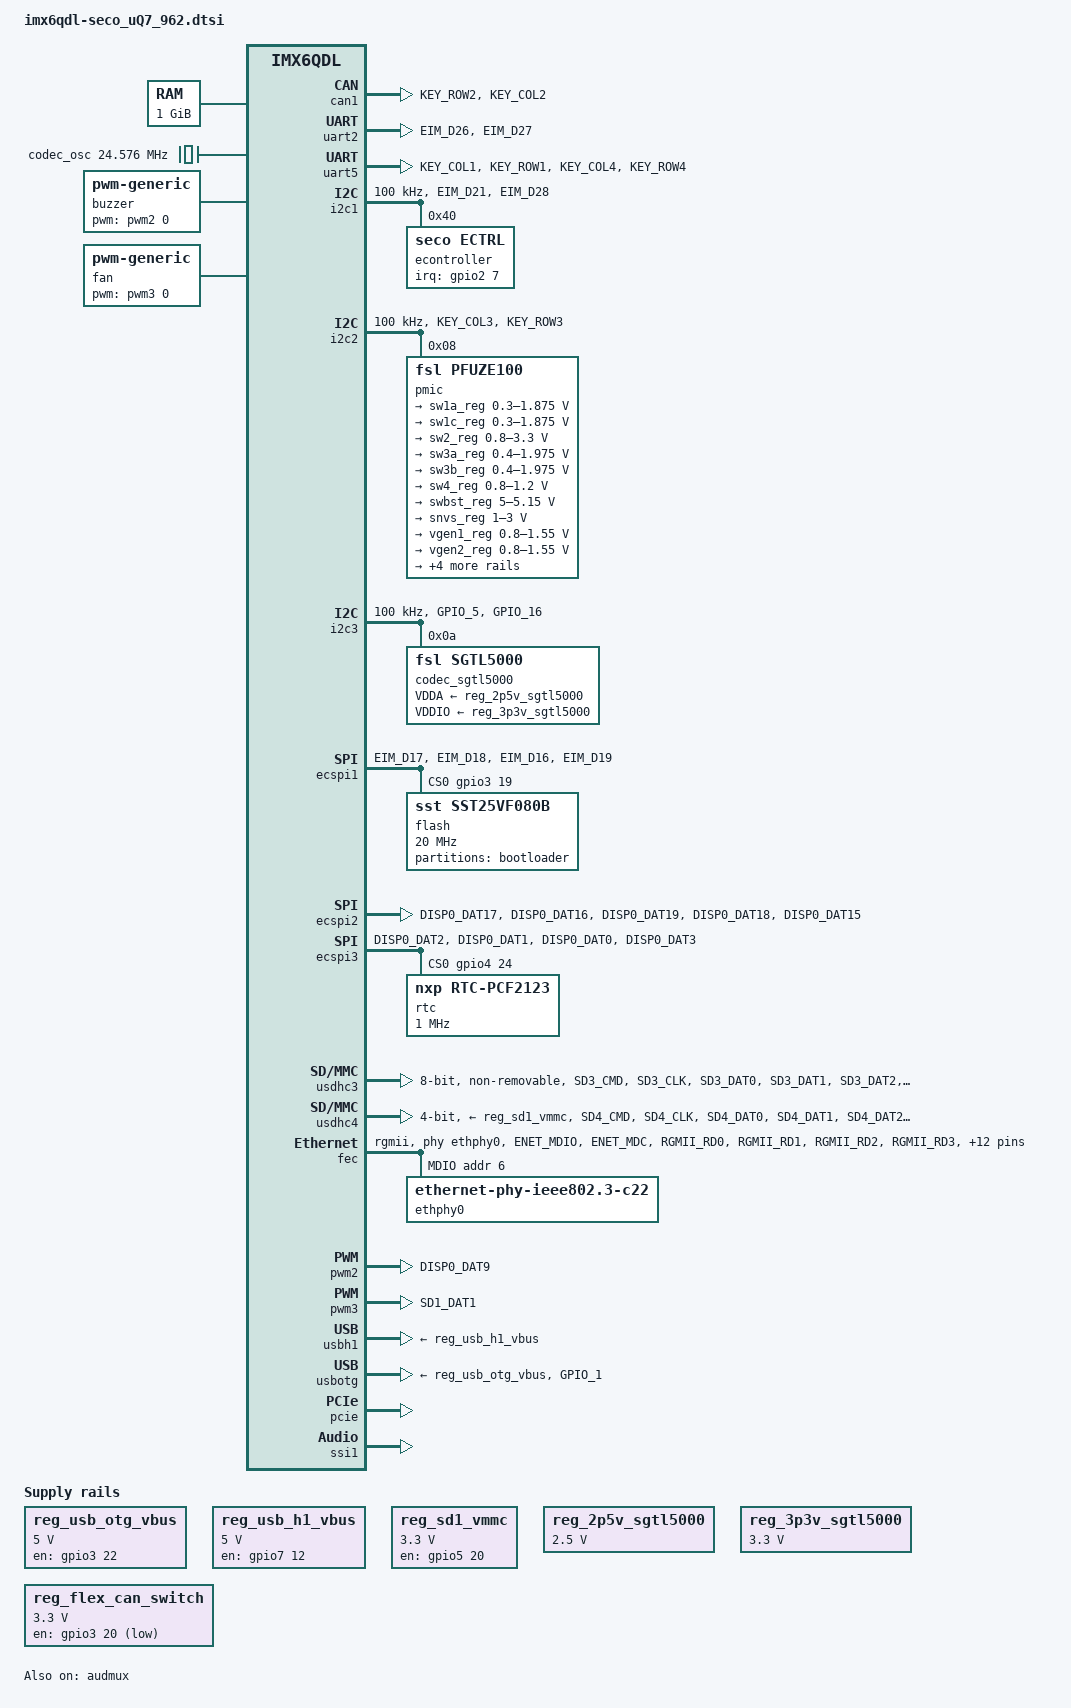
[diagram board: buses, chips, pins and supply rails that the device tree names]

#include <dt-bindings/gpio/gpio.h>
#include <dt-bindings/input/input.h>
#include <dt-bindings/pwm/pwm.h>
#include <dt-bindings/seco/ectrl.h>


/ {
	aliases {
		mxcfb0 = &mxcfb1;
		mxcfb1 = &mxcfb2;
		mxcfb2 = &mxcfb3;
		mxcfb3 = &mxcfb4;
		mmc0   = &usdhc3;
		mmc1   = &usdhc4;
	};

	memory: memory {
		reg = <0x10000000 0x40000000>;
	};

/*  __________________________________________________________________________
 * |                                                                          |
 * |                                    POWER                                 |
 * |__________________________________________________________________________|
 */
	power_signal: power_signal {
		power-gpio = <&gpio2 4 0>;
	};


/*  __________________________________________________________________________
 * |                                                                          |
 * |                                 REGULATORS                               |
 * |__________________________________________________________________________|
 */
	regulators {
		compatible       = "simple-bus";
		#address-cells   = <1>;
		#size-cells      = <0>;

		reg_usb_otg_vbus: regulator@0 {
			compatible              = "regulator-fixed";
			reg                     = <0>;
			regulator-name          = "usb_otg_vbus";
			regulator-min-microvolt = <5000000>;
			regulator-max-microvolt = <5000000>;
			gpio                    = <&gpio3 22 0>;
			enable-active-high;
		};

		reg_usb_h1_vbus: regulator@1 {
			compatible              = "regulator-fixed";
			reg                     = <1>;
			regulator-name          = "usb_h1_vbus";
			pinctrl-0               = <&pinctrl_usb_reg>;
			regulator-min-microvolt = <5000000>;
			regulator-max-microvolt = <5000000>;
			gpio                    = <&gpio7 12 0>;
			enable-active-high;
			startup-delay-us        = <10>; /* USB2514 requires a POR of 1 us minimum */
		};

		reg_panel_on: regulator@2 {
			compatible              = "regulator-fixed";
			reg                     = <2>;
			regulator-name          = "reg_panel_on";
			regulator-min-microvolt = <3300000>;
			regulator-max-microvolt = <3300000>;
			gpio                    = <&gpio1 2 0>;
			enable-active-high;
			regulator-boot-on;
			regulator-always-on;
			status                  = "disabled";
		};

		reg_sd1_vmmc: regulator@3 {
			compatible              = "regulator-fixed";
			reg                     = <3>;
			regulator-name          = "sdcard_on";
			regulator-min-microvolt = <3300000>;
			regulator-max-microvolt = <3300000>;
			gpio                    = <&gpio5 20 0>;
			enable-active-high;
			status                  = "okay";
		};

		reg_2p5v_sgtl5000: regulator@4 {
			compatible              = "regulator-fixed";
			reg                     = <4>;
			regulator-name          = "2P5V_sgtl5000";
			regulator-min-microvolt = <2500000>;
			regulator-max-microvolt = <2500000>;
			regulator-always-on;
			status                  = "okay";
		};

		reg_3p3v_sgtl5000: regulator@5 {
			compatible              = "regulator-fixed";
			reg                     = <5>;
			regulator-name          = "3P3V_sgtl5000";
			regulator-min-microvolt = <3300000>;
			regulator-max-microvolt = <3300000>;
			regulator-always-on;
			status                  = "okay";
		};


		/* select for mux between uart4 and flexcan (default is flexcan) */
		reg_uart_switch: regulator@6 {
			compatible              = "regulator-fixed";
			reg                     = <6>;
			regulator-name          = "uart4_enable";
			regulator-min-microvolt = <3300000>;
			regulator-max-microvolt = <3300000>;
			gpio                    = <&gpio3 20 0>;
			regulator-always-on;
			enable-active-high;
			status                  = "disabled";
		};

		reg_flex_can_switch: regulator@7 {
			compatible              = "regulator-fixed";
			reg                     = <7>;
			regulator-name          = "flexcan_enable";
			regulator-min-microvolt = <3300000>;
			regulator-max-microvolt = <3300000>;
			gpio                    = <&gpio3 20 0>;
			regulator-always-on;
			status                  = "okay";
		};

	};


/*  __________________________________________________________________________
 * |                                                                          |
 * |                                   VIDEO                                  |
 * |__________________________________________________________________________|
 */

	mxcfb1: fb@0 {
		compatible = "fsl,mxc_sdc_fb";
		disp_dev = "ldb";
		interface_pix_fmt = "RGB666";
		default_bpp = <16>;
		int_clk = <0>;
		late_init = <0>;
		status = "disabled";
	};

	mxcfb2: fb@1 {
		compatible = "fsl,mxc_sdc_fb";
		disp_dev = "hdmi";
		interface_pix_fmt = "RGB24";
		mode_str ="1920x1080M@60";
		default_bpp = <24>;
		int_clk = <0>;
		late_init = <0>;
		status = "disabled";
	};

	mxcfb3: fb@2 {
		compatible = "fsl,mxc_sdc_fb";
		disp_dev = "lcd";
		interface_pix_fmt = "RGB565";
		mode_str ="CLAA-WVGA";
		default_bpp = <16>;
		int_clk = <0>;
		late_init = <0>;
		status = "disabled";
	};

	mxcfb4: fb@3 {
		compatible = "fsl,mxc_sdc_fb";
		disp_dev = "ldb";
		interface_pix_fmt = "RGB666";
		default_bpp = <16>;
		int_clk = <0>;
		late_init = <0>;
		status = "disabled";
	};


	backlight: backlight {
		compatible               = "pwm-backlight";
		pwms                     = <&pwm1 0 5000000>;
		brightness-levels        = <0  4   8   12  16  20  24  28  32  36
		                            40  44  48  52  56  60  64  68  72  76
		                            80  84  88  92  96  100 104 108 112 116
		                            120 124 128 132 136 140 144 148 152 156
		                            160 164 168 172 176 180 184 188 192 196
		                            200 204 208 212 216 220 224 228 232 236
		                            240 244 248 252 255
		                           >;
		default-brightness-level = <64>;
		enable-gpios             = <&gpio1 4 0>;
		status                   = "disabled";
	};

};



/*  __________________________________________________________________________
 * |                                                                          |
 * |                                 CLOCKS                                   |
 * |__________________________________________________________________________|
 */
/ {
	clocks {
		codec_osc: anaclk2 {
			compatible      = "fixed-clock";
			#clock-cells    = <0>;
			clock-frequency = <24576000>;
		};
	};
};

&clks {
	assigned-clocks      =
		<&clks IMX6QDL_PLL4_BYPASS_SRC>,
 		<&clks IMX6QDL_PLL4_BYPASS>,
		<&clks IMX6QDL_CLK_PLL4_POST_DIV>;

	assigned-clock-parents =
		<&clks IMX6QDL_CLK_LVDS2_IN>,
		<&clks IMX6QDL_PLL4_BYPASS_SRC>;

	assigned-clock-rates = <0>, <0>, <24576000>;
};



/*  __________________________________________________________________________
 * |                                                                          |
 * |                                    CAN                                   |
 * |__________________________________________________________________________|
 */
/*  Shared with UART4  */
&can1 {
	pinctrl-names = "default";
	pinctrl-0     = <&pinctrl_flexcan1>;
	status        = "okay";
};
/*  __________________________________________________________________________
 * |__________________________________________________________________________|
 */


/*  __________________________________________________________________________
 * |                                                                          |
 * |                                    UART                                  |
 * |__________________________________________________________________________|
 */
/*  Serial Debug  */
&uart2 {
	pinctrl-names = "default";
	pinctrl-0     = <&pinctrl_uart2>;
	status        = "okay";
};

/*  General Pourpose - shared with CAN1  */
&uart4 {
	pinctrl-names = "default";
	pinctrl-0     = <&pinctrl_uart4>;
	status        = "disabled";
};

/*  General Pourpose  */
&uart5 {
	pinctrl-names = "default";
	pinctrl-0     = <&pinctrl_uart5>;
	dma-names     = "","tx";
	status        = "okay";
};
/*  __________________________________________________________________________
 * |__________________________________________________________________________|
 */


/*  __________________________________________________________________________
 * |                                                                          |
 * |                            I2C INTERFACE/DEVICE                          |
 * |__________________________________________________________________________|
 */
&i2c1 {
	clock-frequency = <100000>;
	pinctrl-names   = "default";
	pinctrl-0       = <&pinctrl_i2c1>;
	status          = "okay";

	econtroller: ectrl@40 {
		compatible       = "seco,ectrl";
		reg              = <0x40>;

		interrupt-parent = <&gpio2>;
		interrupts       = <7 2>;

		events           = <ECTRL_EVNT_PWR_BTN  ECTRL_EVNT_RST_BTN
							ECTRL_EVNT_SLEEP  ECTRL_EVNT_BATTERY
							ECTRL_EVNT_WAKE
						>;

		boot_device {

			bootdev@0 {
				id    = <ECTRL_BOOTDEV_USDHC1>;
				label = "external SD";
			};

			bootdev@1 {
				id    = <ECTRL_BOOTDEV_EMMC>;
				label = "on board eMMC";
			};

			bootdev@2 {
				id    = <ECTRL_BOOTDEV_SPI>;
				label = "on board SPI flash";
			};

		};

	};
};


&i2c2 {
	clock-frequency = <100000>;
	pinctrl-names   = "default";
	pinctrl-0       = <&pinctrl_i2c2>;
	status          = "okay";

	hdmi_edid: edid@50 {
		compatible = "fsl,imx6-hdmi-i2c";
		reg        = <0x50>;
		status     = "disabled";
	};

	pmic: pfuze100@8 {
		compatible = "fsl,pfuze100";
		reg = <0x8>;

		regulators {
			sw1a_reg: sw1ab {
				regulator-min-microvolt = <300000>;
				regulator-max-microvolt = <1875000>;
				regulator-boot-on;
				regulator-always-on;
				regulator-ramp-delay = <6250>;
			};

			sw1c_reg: sw1c {
				regulator-min-microvolt = <300000>;
				regulator-max-microvolt = <1875000>;
				regulator-boot-on;
				regulator-always-on;
				regulator-ramp-delay = <6250>;
			};

			sw2_reg: sw2 {
				regulator-min-microvolt = <800000>;
				regulator-max-microvolt = <3300000>;
				regulator-boot-on;
				regulator-always-on;
				regulator-ramp-delay = <6250>;
			};

			sw3a_reg: sw3a {
				regulator-min-microvolt = <400000>;
				regulator-max-microvolt = <1975000>;
				regulator-boot-on;
				regulator-always-on;
			};

			sw3b_reg: sw3b {
				regulator-min-microvolt = <400000>;
				regulator-max-microvolt = <1975000>;
				regulator-boot-on;
				regulator-always-on;
			};

			sw4_reg: sw4 {
				regulator-min-microvolt = <800000>;
				regulator-max-microvolt = <1200000>;
				regulator-always-on;
			};

			swbst_reg: swbst {
				regulator-min-microvolt = <5000000>;
				regulator-max-microvolt = <5150000>;
			};

			snvs_reg: vsnvs {
				regulator-min-microvolt = <1000000>;
				regulator-max-microvolt = <3000000>;
				regulator-boot-on;
				regulator-always-on;
			};

			vref_reg: vrefddr {
				regulator-boot-on;
				regulator-always-on;
			};

			vgen1_reg: vgen1 {
				regulator-min-microvolt = <800000>;
				regulator-max-microvolt = <1550000>;
			};

			vgen2_reg: vgen2 {
				regulator-min-microvolt = <800000>;
				regulator-max-microvolt = <1550000>;
			};

			vgen3_reg: vgen3 {
				regulator-min-microvolt = <1800000>;
				regulator-max-microvolt = <3300000>;
			};

			vgen4_reg: vgen4 {
				regulator-min-microvolt = <1800000>;
				regulator-max-microvolt = <3300000>;
				regulator-always-on;
			};

			vgen5_reg: vgen5 {
				regulator-min-microvolt = <1800000>;
				regulator-max-microvolt = <3300000>;
				regulator-always-on;
			};

			vgen6_reg: vgen6 {
				regulator-min-microvolt = <1800000>;
				regulator-max-microvolt = <3300000>;
				regulator-always-on;
			};
		};
	};

};


&i2c3 {
	clock-frequency = <100000>;
	pinctrl-names   = "default";
	pinctrl-0       = <&pinctrl_i2c3>;
	status          = "okay";

	codec_sgtl5000: sgtl5000@0a {
		compatible   = "fsl,sgtl5000";
		reg          = <0x0a>;
		clocks       = <&clks IMX6QDL_CLK_CKO>;
		VDDA-supply  = <&reg_2p5v_sgtl5000>;
		VDDIO-supply = <&reg_3p3v_sgtl5000>;
		status       = "okay";
	};
};
/*  __________________________________________________________________________
 * |__________________________________________________________________________|
 */


/*  __________________________________________________________________________
 * |                                                                          |
 * |                            SPI INTERFACE/DEVICE                          |
 * |__________________________________________________________________________|
 */
&ecspi1 {
	fsl,spi-num-chipselects = <1>;
	cs-gpios                = <&gpio3 19 0>;
	pinctrl-names           = "default";
	pinctrl-0               = <&pinctrl_ecspi1>;
	status                  = "okay";


	flash: m25p80@0 {
		#address-cells    = <1>;
		#size-cells       = <0>;

		compatible        = "sst,sst25vf080b", "jedec,spi-nor";
		reg               = <0>;
		spi-max-frequency = <20000000>;

		partitions {
			compatible = "fixed-partitions";
			#address-cells = <1>;
			#size-cells = <1>;

			partition@0 {
				label = "bootloader";
				reg   = <0x00000000 0x00100000>;
			};
		};
	};

};


&ecspi2 {
	fsl,spi-num-chipselects = <2>;
	cs-gpios                = <&gpio5 12  0>, <&gpio5 9 0>;
	pinctrl-names           = "default";
	pinctrl-0               = <&pinctrl_ecspi2>;
	status                  = "okay";

//	spidev@0x00{
//		compatible = "spidev";
//		spi-max-frequency   = <1000000>;
//		reg                 = <0>;
//	}; 
};


&ecspi3 {
	fsl,spi-num-chipselects = <1>;
	cs-gpios                = <&gpio4 24  0>;
	pinctrl-names           = "default";
	pinctrl-0               = <&pinctrl_ecspi3>;
	status                  = "okay";

    rtc: pcf2123@0 {
		compatible        = "nxp,rtc-pcf2123";
		reg               = <0>;
		spi-max-frequency = <1000000>;
		spi-cs-high;
    };
};
/*  __________________________________________________________________________
 * |__________________________________________________________________________|
 */


/*  __________________________________________________________________________
 * |                                                                          |
 * |                                   USDHC                                  |
 * |__________________________________________________________________________|
 */
/*  eMMC  */
&usdhc3 {
	pinctrl-names          = "default";
	pinctrl-0              = <&pinctrl_usdhc3>;
	bus-width              = <8>;
	no-1-8-v;
	non-removable;
	keep-power-in-suspend;
	status                 = "okay";
};


/*  uSD  */
&usdhc4 {
	pinctrl-names          = "default";
	pinctrl-0              = <&pinctrl_usdhc4>;
	cd-gpios               = <&gpio2 6 GPIO_ACTIVE_LOW>;
	bus-width              = <4>;
	vmmc-supply            = <&reg_sd1_vmmc>;
	keep-power-in-suspend;
	enable-sdio-wakeup;
	no-1-8-v;
	status                 = "okay";
};
/*  __________________________________________________________________________
 * |__________________________________________________________________________|
 */


/*  __________________________________________________________________________
 * |                                                                          |
 * |                                  ETHERNET                                |
 * |__________________________________________________________________________|
 */
&fec {
	pinctrl-names        = "default";
	pinctrl-0            = <&pinctrl_enet>;
	phy-mode             = "rgmii";
	phy-reset-gpios      = <&gpio3 23 0>;
	phy-reset-duration   = <10>;
	phy-reset-post-delay = <100>;
	phy-handle           = <&ethphy0>;
	fsl,magic-packet;
	status             = "okay";

	mdio: mdio {
		#address-cells = <1>;
		#size-cells = <0>;

		ethphy0: ethernet-phy@6 {
			compatible = "ethernet-phy-ieee802.3-c22";
			reg = <6>;
			// interrupt-parent = <&gpio4>;
			// interrupts = <16 IRQ_TYPE_LEVEL_LOW>;
			status = "okay";
		};
	};
};
/*  __________________________________________________________________________
 * |__________________________________________________________________________|
 */



/*  __________________________________________________________________________
 * |                                                                          |
 * |                                     PWM                                  |
 * |__________________________________________________________________________|
 */
&pwm1 {
	pinctrl-names = "default";
	pinctrl-0     = <&pinctrl_pwm1>;
	status        = "disabled";
};


&pwm2 {
	pinctrl-names = "default";
	pinctrl-0     = <&pinctrl_pwm2>;
	status        = "okay";
};


&pwm3 {
	pinctrl-names = "default";
	pinctrl-0     = <&pinctrl_pwm3>;
	status        = "okay";
};
/*  __________________________________________________________________________
 * |__________________________________________________________________________|
 */



/*  __________________________________________________________________________
 * |                                                                          |
 * |                                     USB                                  |
 * |__________________________________________________________________________|
 */
&usbh1 {
	vbus-supply = <&reg_usb_h1_vbus>;
	status      = "okay";
};


&usbotg {
	vbus-supply           = <&reg_usb_otg_vbus>;
	pinctrl-names         = "default";
	pinctrl-0             = <&pinctrl_usbotg>;
	disable-over-current;
	status                = "okay";
};
/*  __________________________________________________________________________
 * |__________________________________________________________________________|
 */


/*  __________________________________________________________________________
 * |                                                                          |
 * |                                 VIDEO OUTPUT                             |
 * |__________________________________________________________________________|
 */
&hdmi_audio {
	status = "disabled";
};


&hdmi_core {
	ipu_id  = <0>;
	disp_id = <0>;
	status  = "disabled";
};


&hdmi_video {
	fsl,phy_reg_vlev    = <0x0294>;
	fsl,phy_reg_cksymtx = <0x800d>;
	status              = "disabled";
};
/*  __________________________________________________________________________
 * |__________________________________________________________________________|
 */


/*  __________________________________________________________________________
 * |                                                                          |
 * |                                    PCI                                   |
 * |__________________________________________________________________________|
 */
&pcie {
	status = "okay";
};
/*  __________________________________________________________________________
 * |__________________________________________________________________________|
 */


/*  __________________________________________________________________________
 * |                                                                          |
 * |                                   AUDIO                                  |
 * |__________________________________________________________________________|
 */
/*  __________________________________________________________________________
 * |___________________________ AUDIO SGTL5000 _______________________________|
 */

 / {
    sound_sgtl5000: sound_sgtl5000 {
        compatible     = "fsl,imx6q-seco-sgtl5000",
                         "fsl,imx-audio-sgtl5000";
        model          = "fsl,imx6q-seco-sgtl5000";
        cpu-dai        = <&ssi1>;
        ssi-controller = <&ssi1>;
        audio-codec    = <&codec_sgtl5000>;
        audio-routing  = "MIC_IN", "Mic Jack",
                         "Mic Jack", "Mic Bias",
                         "Headphone Jack", "HP_OUT";
        mux-int-port   = <1>;
        mux-ext-port   = <6>;
        status         = "okay";
    };
};


&ssi1 {
    fsl,mode       = "i2s-slave";
    status         = "okay";
    	cell-index    = <0>;
};


&audmux {
	status        = "okay";
	pinctrl-names = "default";
	pinctrl-0     = <&pinctrl_audmux>;
};


/ {
	buzzer {
		compatible      = "pwm-generic";
		pwms            = <&pwm2 0 500000000>;
		max-duty        = <255>;
		dft-duty        = <128>;
		pwm-period-ns   = <370000>;
		period-ns-min   = <150>;
		period-ns-max   = <50000000>;
		pwm-id          = <2>;
		enable          = <0>;
	};
};
/*  __________________________________________________________________________
 * |__________________________________________________________________________|
 */

/ {
	fan {
		compatible      = "pwm-generic";
		pwms            = <&pwm3 0 500000000>;
		max-duty        = <255>;
		dft-duty        = <128>;
		pwm-period-ns   = <370000>;
		period-ns-min   = <150>;
		period-ns-max   = <50000000>;
		pwm-id          = <3>;
		enable          = <0>;
	};
};

/*  __________________________________________________________________________
 * |                                                                          |
 * |                                    IOMUX                                 |
 * |__________________________________________________________________________|
 */
&iomuxc {
	pinctrl-names = "default";
	pinctrl-0 = <&pinctrl_hog>;

	imx6qdl-uQ7_962 {

		pinctrl_hog: hoggrp {
			fsl,pins = <
				/*  LVDS  */
				MX6QDL_PAD_GPIO_4__GPIO1_IO04                0x1f071
				MX6QDL_PAD_GPIO_2__GPIO1_IO02                0x1f071
				/*  USB  */
				MX6QDL_PAD_EIM_D22__GPIO3_IO22               0x1f071
				MX6QDL_PAD_GPIO_17__GPIO7_IO12               0x1f071
				/*  ECTRL INTERRUPT  */
				MX6QDL_PAD_NANDF_D7__GPIO2_IO07              0x1f071
				/*  PWR EMBEDDED CONTROLLER  */
				MX6QDL_PAD_NANDF_D4__GPIO2_IO04              0x1f071
				/*   UART4 - FLEXCAN MUX SELECTOR  */
				MX6QDL_PAD_EIM_D20__GPIO3_IO20               0x1f071
			>;
		};


/*  __________________________________________________________________________
 * |________________________________ UART ____________________________________|
 */
		/* DEBUG UART */
		pinctrl_uart2: uart2grp {
			fsl,pins = <
				MX6QDL_PAD_EIM_D26__UART2_TX_DATA            0x1b0b1
				MX6QDL_PAD_EIM_D27__UART2_RX_DATA            0x1b0b1
			>;
		};

		pinctrl_uart4: uart4grp {
			fsl,pins = <
				MX6QDL_PAD_KEY_COL0__UART4_TX_DATA           0x1b0b1
				MX6QDL_PAD_KEY_ROW0__UART4_RX_DATA           0x1b0b1
			>;
		};

		pinctrl_uart5: uart5grp {
			fsl,pins = <
				MX6QDL_PAD_KEY_COL1__UART5_TX_DATA           0x1b0b1
				MX6QDL_PAD_KEY_ROW1__UART5_RX_DATA           0x1b0b1
				MX6QDL_PAD_KEY_COL4__UART5_RTS_B             0x1b0b1
				MX6QDL_PAD_KEY_ROW4__UART5_CTS_B             0x1b0b1

			>;
		};


/*  __________________________________________________________________________
 * |_________________________________ I2C ____________________________________|
 */
		pinctrl_i2c1: i2c1grp {
			fsl,pins = <
				MX6QDL_PAD_EIM_D21__I2C1_SCL                 0x4001b8b1
				MX6QDL_PAD_EIM_D28__I2C1_SDA                 0x4001b8b1
			>;
		};

		pinctrl_i2c2: i2c2grp {
			fsl,pins = <
				MX6QDL_PAD_KEY_COL3__I2C2_SCL                0x4001b8b1
				MX6QDL_PAD_KEY_ROW3__I2C2_SDA                0x4001b8b1
			 >;
		};

		pinctrl_i2c3: i2c3grp {
			fsl,pins = <
				MX6QDL_PAD_GPIO_5__I2C3_SCL                  0x4001b8b1
				MX6QDL_PAD_GPIO_16__I2C3_SDA                 0x4001b8b1
			>;
		};

/*  __________________________________________________________________________
 * |_________________________________ SPI ____________________________________|
 */
		pinctrl_ecspi1: ecspi1grp {
			fsl,pins = <
				MX6QDL_PAD_EIM_D17__ECSPI1_MISO              0x100b1
				MX6QDL_PAD_EIM_D18__ECSPI1_MOSI              0x100b1
				MX6QDL_PAD_EIM_D16__ECSPI1_SCLK              0x100b1
				/*  CS SPI 1  */
				MX6QDL_PAD_EIM_D19__GPIO3_IO19               0x80000000

			>;
		};

		pinctrl_ecspi2: ecspi2grp {
			fsl,pins = <
				MX6QDL_PAD_DISP0_DAT17__ECSPI2_MISO          0x100b1
				MX6QDL_PAD_DISP0_DAT16__ECSPI2_MOSI          0x100b1
				MX6QDL_PAD_DISP0_DAT19__ECSPI2_SCLK          0x100b1
				/*  CS SPI 2  */
				MX6QDL_PAD_DISP0_DAT18__GPIO5_IO12           0x80000000
				MX6QDL_PAD_DISP0_DAT15__GPIO5_IO09           0x80000000
			>;
		};

		pinctrl_ecspi3: ecspi3grp {
			fsl,pins = <
				MX6QDL_PAD_DISP0_DAT2__ECSPI3_MISO           0x100b1
				MX6QDL_PAD_DISP0_DAT1__ECSPI3_MOSI           0x100b1
				MX6QDL_PAD_DISP0_DAT0__ECSPI3_SCLK           0x100b1
				/*  CS SPI 3  */
				MX6QDL_PAD_DISP0_DAT3__GPIO4_IO24            0x80000000
			>;
		};


/*  __________________________________________________________________________
 * |________________________________ USDHC ___________________________________|
 */
		pinctrl_usdhc3: usdhc3grp {
			fsl,pins = <
				MX6QDL_PAD_SD3_CMD__SD3_CMD                  0x17059
				MX6QDL_PAD_SD3_CLK__SD3_CLK                  0x10059
				MX6QDL_PAD_SD3_DAT0__SD3_DATA0               0x17059
				MX6QDL_PAD_SD3_DAT1__SD3_DATA1               0x17059
				MX6QDL_PAD_SD3_DAT2__SD3_DATA2               0x17059
				MX6QDL_PAD_SD3_DAT3__SD3_DATA3               0x17059
				MX6QDL_PAD_SD3_DAT4__SD3_DATA4               0x17059
				MX6QDL_PAD_SD3_DAT5__SD3_DATA5               0x17059
				MX6QDL_PAD_SD3_DAT6__SD3_DATA6               0x17059
				MX6QDL_PAD_SD3_DAT7__SD3_DATA7               0x17059
				MX6QDL_PAD_SD3_RST__SD3_RESET                0x17059
			>;
		};

		pinctrl_usdhc4: usdhc4grp {
			fsl,pins = <
				MX6QDL_PAD_SD4_CMD__SD4_CMD                  0x17059
				MX6QDL_PAD_SD4_CLK__SD4_CLK                  0x10059
				MX6QDL_PAD_SD4_DAT0__SD4_DATA0               0x17059
				MX6QDL_PAD_SD4_DAT1__SD4_DATA1               0x17059
				MX6QDL_PAD_SD4_DAT2__SD4_DATA2               0x17059
				MX6QDL_PAD_SD4_DAT3__SD4_DATA3               0x17059
				MX6QDL_PAD_NANDF_D6__GPIO2_IO06              0x17059
				MX6QDL_PAD_CSI0_DATA_EN__GPIO5_IO20          0x17059
				MX6QDL_PAD_NANDF_D5__GPIO2_IO05              0x17059
			>;
		};

/*  __________________________________________________________________________
 * |__________________________________ CAN ___________________________________|
 */
		pinctrl_flexcan1: flexcan1grp {
			fsl,pins = <
				MX6QDL_PAD_KEY_ROW2__FLEXCAN1_RX             0x80000000
				MX6QDL_PAD_KEY_COL2__FLEXCAN1_TX             0x80000000
			>;
		};

/*  __________________________________________________________________________
 * |______________________________ ETHERNET __________________________________|
 */
		pinctrl_enet: enetgrp {
			fsl,pins = <
				MX6QDL_PAD_ENET_MDIO__ENET_MDIO              0x1b0b0
				MX6QDL_PAD_ENET_MDC__ENET_MDC                0x1b0b0
				MX6QDL_PAD_RGMII_RD0__RGMII_RD0              0x1b0b0
				MX6QDL_PAD_RGMII_RD1__RGMII_RD1              0x1b0b0
				MX6QDL_PAD_RGMII_RD2__RGMII_RD2              0x1b0b0
				MX6QDL_PAD_RGMII_RD3__RGMII_RD3              0x1b0b0
				MX6QDL_PAD_RGMII_RX_CTL__RGMII_RX_CTL        0x1b0b0
				MX6QDL_PAD_RGMII_TD0__RGMII_TD0              0x1b0b0
				MX6QDL_PAD_RGMII_TD1__RGMII_TD1              0x1b0b0
				MX6QDL_PAD_RGMII_TD2__RGMII_TD2              0x1b0b0
				MX6QDL_PAD_RGMII_TD3__RGMII_TD3              0x1b0b0
				MX6QDL_PAD_RGMII_TX_CTL__RGMII_TX_CTL        0x1b0b0
				MX6QDL_PAD_RGMII_RXC__RGMII_RXC              0x1b0b0
				MX6QDL_PAD_RGMII_TXC__RGMII_TXC              0x1b0b0
				MX6QDL_PAD_ENET_REF_CLK__ENET_TX_CLK         0x1b0b0

				/*  Phy Interrupt  */
				MX6QDL_PAD_ENET_TX_EN__GPIO1_IO28            0x1f071
				/*  ENET RESET */
				MX6QDL_PAD_EIM_D23__GPIO3_IO23               0x1f071
			>;
		};


/*  __________________________________________________________________________
 * |__________________________________ PWM ___________________________________|
 */
		/*  Backlight  */
		pinctrl_pwm1: pwm1grp {
			fsl,pins = <
				MX6QDL_PAD_GPIO_9__PWM1_OUT                  0x1b0b1
			>;
		};

		pinctrl_pwm2: pwm2grp {
			fsl,pins = <
				MX6QDL_PAD_DISP0_DAT9__PWM2_OUT	     	     0x1b0b1
			>;
		};

		pinctrl_pwm3: pwm3grp {
			fsl,pins = <
				MX6QDL_PAD_SD1_DAT1__PWM3_OUT		              0x1b0b1
			>;
		};
/*  __________________________________________________________________________
 * |__________________________________ USB ___________________________________|
 */
		pinctrl_usb_h1: usbh1grp {
			fsl,pins = <
				MX6QDL_PAD_NANDF_CS2__CCM_CLKO2              0x130b0
			>;
		};

		pinctrl_usbotg: usbotggrp {
			fsl,pins = <
				MX6QDL_PAD_GPIO_1__USB_OTG_ID                0x17059
			>;
		};

		pinctrl_usb_reg: usbreggrp {
			fsl,pins = <
				MX6QDL_PAD_GPIO_17__GPIO7_IO12               0x1b0b0
			>;
		};

/*  __________________________________________________________________________
 * |_____________________________ AUDIO AC97 _________________________________|
 */
		ac97link_running: ac97link_runninggrp {
			fsl,pins = <
				MX6QDL_PAD_DI0_PIN2__AUD6_TXD                0x130b0
				MX6QDL_PAD_DI0_PIN3__AUD6_TXFS               0x130b0
				MX6QDL_PAD_DI0_PIN4__AUD6_RXD                0x130b0
				MX6QDL_PAD_DI0_PIN15__AUD6_TXC               0x130b0
			>;
		};

		ac97link_reset: ac97link_resetgrp {
			fsl,pins = <
				/*  AUD_SYNC  */
				MX6QDL_PAD_DI0_PIN3__GPIO4_IO19              0x1f071
				/*  AUD_SDO  */
				MX6QDL_PAD_DI0_PIN2__GPIO4_IO18              0x1f071
				/*  RESET  */
				MX6QDL_PAD_SD2_CMD__GPIO1_IO11               0x1f071
			>;
		};

		ac97link_warm_reset: ac97link_warm_resetgrp {
			fsl,pins = <
				MX6QDL_PAD_DI0_PIN3__GPIO4_IO19              0x80000000
			>;
		};

		pinctrl_audmux: audmuxgrp {
			fsl,pins = <
				MX6QDL_PAD_DI0_PIN2__AUD6_TXD                0x130b0
				MX6QDL_PAD_DI0_PIN3__AUD6_TXFS               0x130b0
				MX6QDL_PAD_DI0_PIN4__AUD6_RXD                0x130b0
				MX6QDL_PAD_DI0_PIN15__AUD6_TXC               0x130b0
				MX6QDL_PAD_SD2_CMD__GPIO1_IO11               0x1f071
			>;
		};


	};
};
/*  __________________________________________________________________________
 * |__________________________________________________________________________|
 */
